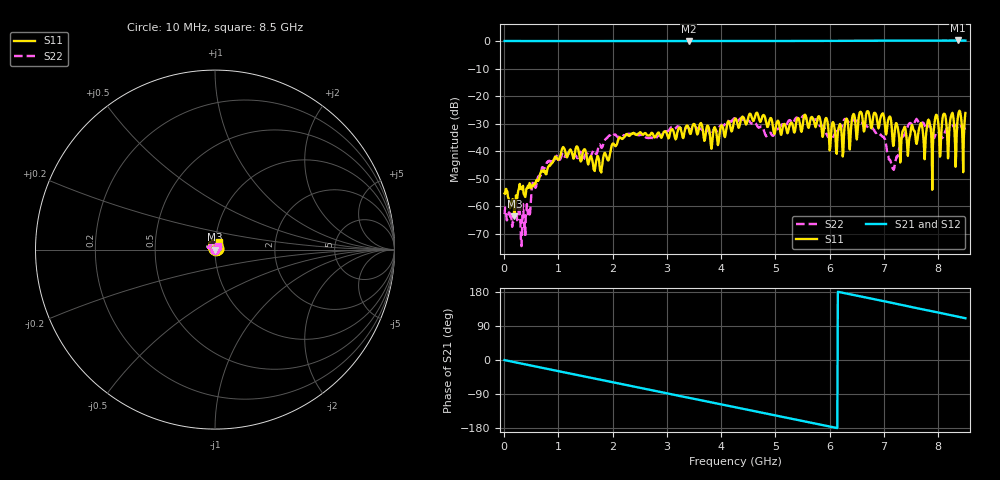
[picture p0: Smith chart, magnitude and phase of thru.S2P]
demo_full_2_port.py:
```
"""
Mini-Circuits Vayyar UVNA-63 demo script "demo_full_2_port.py"
Description: Takes a two port corrected measurement by applying an SOLT
calibration to a 12-term error model. Plots S-Parameters of uncalibrated and
calibrated measurements side by side and outputs SnP files: 'DUT.S2P' and
'DUT_uncorrected.S2P' for the corrected and uncorrected S-Parameters
respectively. This script is a good reference for new UVNA applications.
"""
import numpy as np
from vnakit_ex import getSettingsStr, loadGammaListed
from vnakit_ex.hidden import userMsg,readSnP,prompt2PortSOLT,get12TermModel,\
                            measure2Port,ab2S,correct12Term,plotCompareDb,writeSnP
import vnakit

def main():
    print('\n------------ DEMO: Mini-Circuits Vayyar VNA kit ------------\n')
    print(  '------------ Data-Based 2-Port SOLT Calibration ------------\n')
    print(  '--------- Press Enter to continue. Type q to exit. ---------\n')
    # VNA kit port mapping, defining the Transceiver ports (1,2,...,6)
    # to the VNA ports ('Tx1',Rx1A',...,'Rx2B')
    ports = {'Tx1':6,'Rx1A':5,'Rx1B':4,'Tx2':3,'Rx2A':2,'Rx2B':1}
    # intializes the board object
    vnakit.Init()
    # VNA Kit settings
    settings = vnakit.RecordingSettings(
        vnakit.FrequencyRange(100, 6000, 236), # fmin,fmax,num_points
        1, # RBW (in KHz)
        -10, # output power (dbM)
        ports['Tx1'], # transmitter port
        vnakit.VNAKIT_MODE_TWO_PORTS
    )
    vnakit.ApplySettings(settings)
    # actual frequency vector used by the board
    freq_vec = np.array(vnakit.GetFreqVector_MHz())
    print('The board is initialized with settings:\n')
    # gets a formatted string of the board's settings. See vnakit_ex/utils.py
    settings_str = getSettingsStr(settings)
    print(settings_str)
    print('-- 2-Port Calibration --')
    # filenames of the open, short, load standards
    sol_stds = ['stds/open.S1P','stds/short.S1P','stds/load.S1P']
    # puts the reflection coefficents of the SOL standards in single array.
    # Also interpolates in frequency. See vnakit_ex/utils.py
    Gamma_listed = loadGammaListed(sol_stds,freq_vec*1e6)
    # loads S-parameter data of the thru standard, interpolates frequency
    Thru_listed = readSnP('stds/thru.S2P',freq_desired=freq_vec*1e6)
    # prompts user for SOLT measurements and returns raw measured
    # SOLT reflection coefficents and S-parameters
    (Gamma_meas_p1,Gamma_meas_p2,Thru_meas) = \
        prompt2PortSOLT(vnakit,settings,ports,isolation=False)
    # constructs the 12-term model from the standards data and the data measured
    # from the prompt.
    print('Constructing 12-Term Error Model...')
    (fwd_terms,rev_terms) = get12TermModel(Gamma_listed,Gamma_meas_p1,
        Gamma_listed,Gamma_meas_p2,Thru_listed,Thru_meas)
    # calibration is now complete (by having obtained the error terms)
    # now enter a loop that takes a measurement and plots the results
    while(1):
        # raw measurement of the DUT
        userMsg('>> Measure DUT:')
        print('Recording...',end='')
        (rec_tx1,rec_tx2) = measure2Port(vnakit,settings,ports)
        print('Done.\n')
        # converting a/b waves to S-parameters
        S_param_meas = ab2S(rec_tx1,rec_tx2,ports)
        # applying error correction with the error terms previoulsy obtained
        print('Applying 12-Term Model Correction...')
        S_param = correct12Term(S_param_meas,fwd_terms,rev_terms)
        # touchstone files of the measurement are written to the current directory
        print('Writing files: DUT_uncorrected.S2P, DUT.S2P ...')
        writeSnP(freq_vec,S_param_meas,'C:/Temp/DUT_uncorrected.S2P',freq_unit='MHz')
        writeSnP(freq_vec,S_param,'C:/Temp/DUT.S2P',freq_unit='MHz')
        # a plot comparing the raw uncorrected measurement
        # to the corrected S-paramter measurement in Log-Magnitude
        print('Plotting...')
        plotCompareDb(freq_vec,[S_param_meas,S_param],
            ['Uncorrected','12-term Corrected'], settings_str)

if __name__ == '__main__':
    main()
```
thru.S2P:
!Agilent Technologies,N3383A,US41480161,A.04.87.01
!Agilent N3383A: A.04.87.01
!Date: Monday, September 24, 2018 16:44:19
!Correction: S11(Full 2 Port SOLT,1,2) S21(Full 2 Port SOLT,1,2) S12(Full 2 Port SOLT,1,2) S22(Full 2 Port SOLT,1,2)
!S2P File: Measurements: S11, S21, S12, S22:
!Part No: SF-SF50+
!Part Description: SMA-F to SMA-F Adaptor
# Hz S  dB  R 50
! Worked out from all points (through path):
!   850 points, 10 MHz to 8.5 GHz, reference 50 ohm
!   highest |S21| = 0.20 dB at 8.36 GHz (marker M1); lowest = 0.0 dB at 3.4 GHz (marker M2)
!   group delay of S21, straight-line fit = 81.4 ps
!   lowest |S11| = -63.7 dB at 190 MHz (marker M3), VSWR 1.00, Z = 50 - j0.0583 ohm
!   |S11| at or under -10 dB: start of sweep to end of sweep
!   |S22| runs from -74.6 to -27.1 dB; largest |S21 - S12| = 0.0061
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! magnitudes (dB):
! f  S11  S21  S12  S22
! 10 MHz  -55.4  0.0  0.0  -62.9
! 190 MHz  -63.7  0.0  0.0  -63.7
! 350 MHz  -52.6  0.0  0.0  -59.2
! 950 MHz  -42.2  0.0  0.0  -42.3
! 3.4 GHz  -31.7  0.0  -0.1  -31.6
! 4.26 GHz  -28.2  0.0  0.0  -28.2
! 6.53 GHz  -28.6  0.1  0.0  -28.9
! 7.17 GHz  -38.1  0.1  0.1  -46.4
! 7.47 GHz  -35.1  0.2  0.1  -29.9
! 8.36 GHz  -27.9  0.2  0.2  -31.9
! 8.5 GHz  -26.2  0.2  0.1  -32.5
